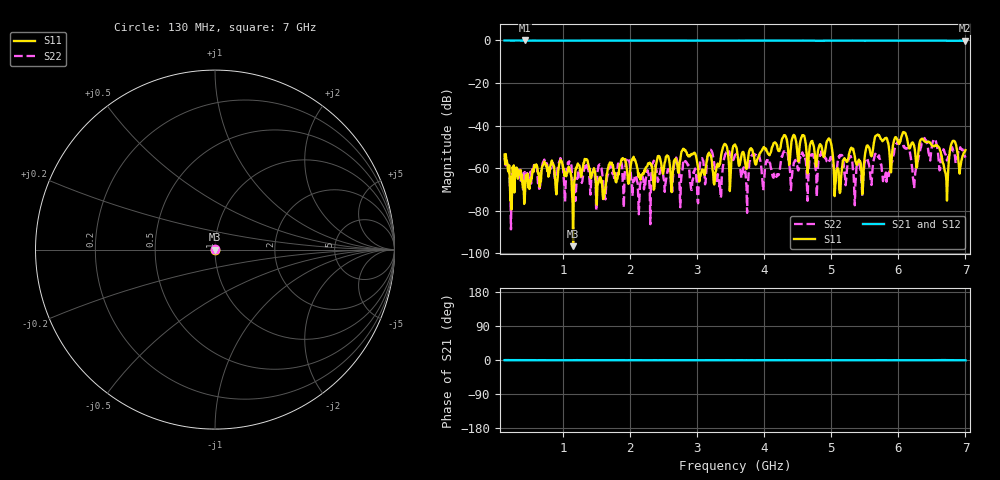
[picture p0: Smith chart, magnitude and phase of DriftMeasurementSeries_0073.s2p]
# Hz S RI R 50.000000
! Metas.Vna.Tools, 2.8.8664.20301
! Metas.Vna.Data, 2.8.8664.20285
! Created: UTC 2024.02.11 10:08:37
! FREQ  re:S1,1  im:S1,1  re:S2,1  im:S2,1  re:S1,2  im:S1,2  re:S2,2  im:S2,2
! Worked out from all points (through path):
!   801 points, 130 MHz to 7 GHz, reference 50 ohm
!   highest |S21| = -0.01 dB at 439.1 MHz (marker M1); lowest = -0.2 dB at 6.991 GHz (marker M2)
!   lowest |S11| = -96.7 dB at 1.152 GHz (marker M3), VSWR 1.00, Z = 50 + j0.00129 ohm
!   |S11| at or under -10 dB: start of sweep to end of sweep
!   |S22| runs from -88.8 to -45.9 dB; largest |S21 - S12| = 0.019
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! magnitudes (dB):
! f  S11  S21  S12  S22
! 130 MHz  -53.7  0.0  0.0  -55.2
! 439.1 MHz  -67.7  0.0  0.0  -62.4
! 971.6 MHz  -56.9  -0.1  0.0  -56.4
! 1.152 GHz  -96.7  -0.1  0.0  -69.6
! 1.281 GHz  -62.4  0.0  0.0  -67.0
! 1.607 GHz  -74.2  -0.1  0.0  -71.1
! 2.423 GHz  -54.3  -0.1  0.0  -65.7
! 3.264 GHz  -65.7  -0.1  0.0  -59.6
! 3.565 GHz  -48.9  -0.1  0.0  -53.8
! 3.737 GHz  -60.4  -0.1  0.0  -68.9
! 3.84 GHz  -53.3  -0.1  0.0  -53.9
! 4.716 GHz  -47.2  -0.1  0.0  -53.5
! 4.973 GHz  -46.3  -0.1  0.0  -56.7
! 5.102 GHz  -60.3  -0.1  0.0  -56.0
! 5.858 GHz  -49.8  -0.1  0.0  -63.8
! 6.012 GHz  -48.6  -0.1  0.0  -47.3
! 6.236 GHz  -49.6  -0.1  0.0  -69.6
! 6.382 GHz  -47.1  -0.1  0.0  -46.6
! 6.708 GHz  -63.0  -0.1  0.0  -53.8
! 6.811 GHz  -47.2  -0.1  0.0  -51.1
! 6.991 GHz  -52.3  -0.2  0.0  -54.3
! 7 GHz  -51.6  -0.2  0.0  -55.1
